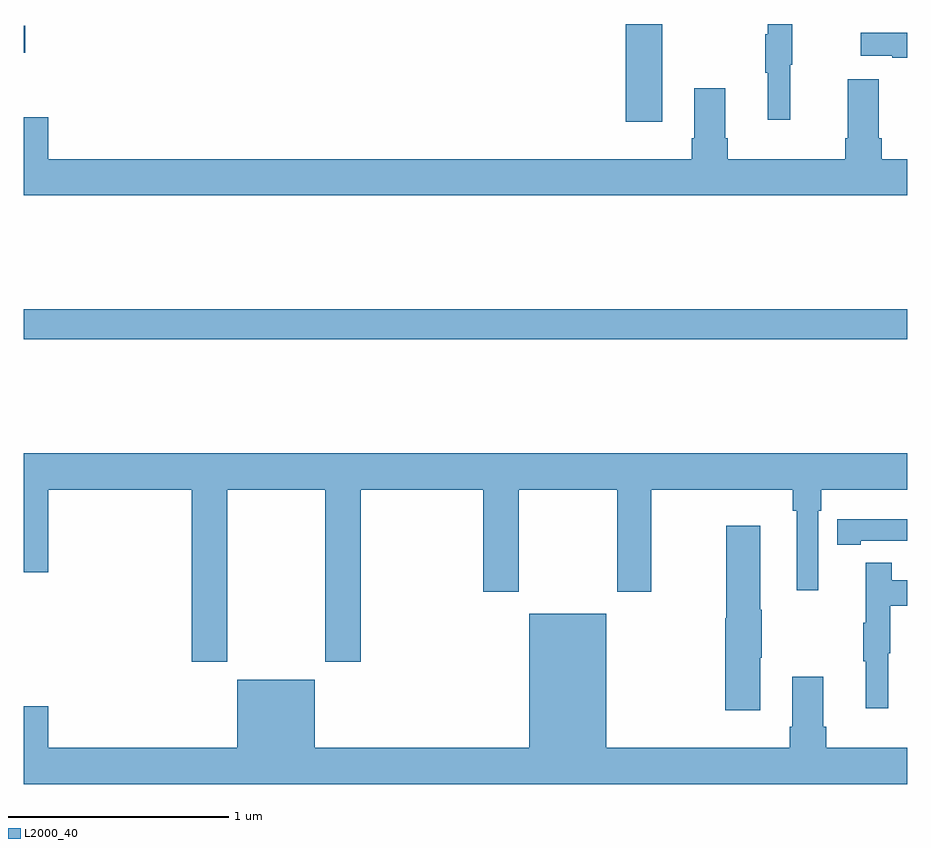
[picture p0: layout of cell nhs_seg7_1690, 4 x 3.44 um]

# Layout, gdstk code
import gdstk
lib = gdstk.Library(unit=1e-6, precision=1e-09)
def R(c, l, rs):  # rectangles x0, y0, x1, y1
    for r in rs: c.add(gdstk.rectangle(r[:2], r[2:], *l))
def P(c, l, *ps):  # polygons
    for p in ps: c.add(gdstk.Polygon(p, *l))
L2000_40 = (2000, 40)

nhs_seg7_1690 = lib.new_cell('nhs_seg7_1690')
R(nhs_seg7_1690, L2000_40, [(225,1058.572,229,1058.708), (227.726,1059.558,227.89,1060), (225,1059.869,225.007,1059.991)])
P(nhs_seg7_1690, L2000_40, [(228.47,1059.816),(228.478,1059.816),(228.478,1060),(228.368,1060),(228.368,1059.953),(228.357,1059.953),(228.357,1059.779),(228.368,1059.779),(228.368,1059.567),(228.47,1059.567)],
  [(229,1059.961),(228.789,1059.961),(228.789,1059.857),(228.932,1059.857),(228.932,1059.847),(229,1059.847)],
  [(229,1059.388),(228.884,1059.388),(228.884,1059.484),(228.871,1059.484),(228.871,1059.751),(228.731,1059.751),(228.731,1059.484),(228.719,1059.484),(228.719,1059.388),(228.188,1059.388),(228.188,1059.484),(228.175,1059.484),(228.175,1059.709),(228.035,1059.709),(228.035,1059.484),(228.023,1059.484),(228.023,1059.388),(225.112,1059.388),(225.112,1059.577),(225,1059.577),(225,1059.224),(229,1059.224)],
  [(225.921,1057.892),(226.366,1057.892),(226.366,1057.113),(226.526,1057.113),(226.526,1057.892),(227.081,1057.892),(227.081,1057.431),(227.241,1057.431),(227.241,1057.892),(227.686,1057.892),(227.686,1057.431),(227.841,1057.431),(227.841,1057.892),(228.481,1057.892),(228.481,1057.796),(228.5,1057.796),(228.5,1057.437),(228.597,1057.437),(228.597,1057.796),(228.611,1057.796),(228.611,1057.892),(229,1057.892),(229,1058.056),(225,1058.056),(225,1057.518),(225.112,1057.518),(225.112,1057.892),(225.761,1057.892),(225.761,1057.113),(225.921,1057.113)],
  [(228.79,1057.662),(229,1057.662),(229,1057.759),(228.79,1057.759),(228.79,1057.758),(228.682,1057.758),(228.682,1057.642),(228.79,1057.642)],
  [(228.334,1057.132),(228.342,1057.132),(228.342,1057.349),(228.334,1057.349),(228.334,1057.729),(228.181,1057.729),(228.181,1057.311),(228.176,1057.311),(228.176,1056.894),(228.334,1056.894)],
  [(228.914,1057.152),(228.922,1057.152),(228.922,1057.366),(229,1057.366),(229,1057.482),(228.929,1057.482),(228.929,1057.561),(228.812,1057.561),(228.812,1057.289),(228.801,1057.289),(228.801,1057.115),(228.812,1057.115),(228.812,1056.903),(228.914,1056.903)],
  [(229,1056.724),(228.632,1056.724),(228.632,1056.82),(228.619,1056.82),(228.619,1057.045),(228.479,1057.045),(228.479,1056.82),(228.467,1056.82),(228.467,1056.724),(227.638,1056.724),(227.638,1057.33),(227.288,1057.33),(227.288,1056.724),(226.318,1056.724),(226.318,1057.033),(225.968,1057.033),(225.968,1056.724),(225.112,1056.724),(225.112,1056.913),(225,1056.913),(225,1056.56),(229,1056.56)])

lib.write_gds('nhs_seg7_1690.gds')
